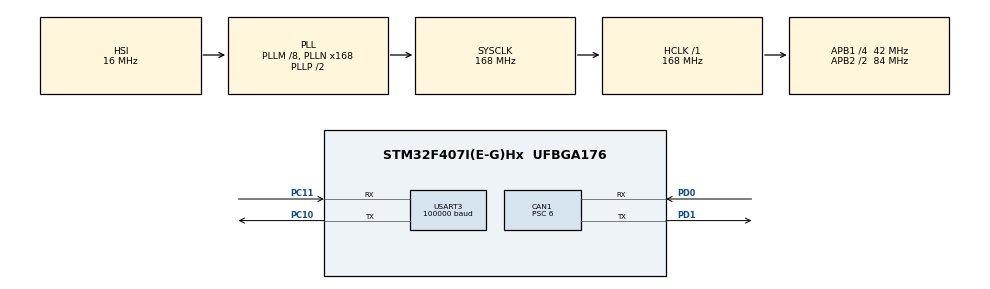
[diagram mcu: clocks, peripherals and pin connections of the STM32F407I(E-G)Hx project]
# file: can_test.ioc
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CAN1.BS1=CAN_BS1_3TQ
CAN1.BS2=CAN_BS2_3TQ
CAN1.CalculateBaudRate=1000000
CAN1.CalculateTimeBit=1000
CAN1.CalculateTimeQuantum=142.85714285714286
CAN1.Prescaler=6
Dma.Request0=USART3_RX
Dma.USART3_RX.0.Direction=DMA_PERIPH_TO_MEMORY
Dma.USART3_RX.0.FIFOMode=DMA_FIFOMODE_DISABLE
Dma.USART3_RX.0.Instance=DMA1_Stream1
Dma.USART3_RX.0.MemDataAlignment=DMA_MDATAALIGN_BYTE
Dma.USART3_RX.0.MemInc=DMA_MINC_ENABLE
Dma.USART3_RX.0.Mode=DMA_NORMAL
Dma.USART3_RX.0.PeriphDataAlignment=DMA_PDATAALIGN_BYTE
Dma.USART3_RX.0.PeriphInc=DMA_PINC_DISABLE
Dma.USART3_RX.0.Priority=DMA_PRIORITY_LOW
Mcu.Family=STM32F4
Mcu.Name=STM32F407I(E-G)Hx
Mcu.Package=UFBGA176
NVIC.CAN1_RX0_IRQn=true\:14\:0\:true\:false\:true\:true\:true\:true
NVIC.CAN1_RX1_IRQn=true\:14\:0\:true\:false\:true\:true\:true\:true
NVIC.DMA1_Stream1_IRQn=true\:0\:0\:false\:false\:true\:false\:true\:true
NVIC.PriorityGroup=NVIC_PRIORITYGROUP_4
NVIC.USART3_IRQn=true\:0\:0\:false\:false\:true\:true\:true\:true
PC10.Mode=Asynchronous
PC10.Signal=USART3_TX
PC11.Mode=Asynchronous
PC11.Signal=USART3_RX
PD0.Mode=CAN_Activate
PD0.Signal=CAN1_RX
PD1.Mode=CAN_Activate
PD1.Signal=CAN1_TX
PH0-OSC_IN.Mode=HSE-External-Oscillator
PH0-OSC_IN.Signal=RCC_OSC_IN
PH1-OSC_OUT.Mode=HSE-External-Oscillator
PH1-OSC_OUT.Signal=RCC_OSC_OUT
ProjectManager.HeapSize=0x200
ProjectManager.StackSize=0x400
ProjectManager.TargetToolchain=MDK-ARM V5.32
RCC.48MHZClocksFreq_Value=84000000
RCC.AHBFreq_Value=168000000
RCC.APB1CLKDivider=RCC_HCLK_DIV4
RCC.APB1Freq_Value=42000000
RCC.APB1TimFreq_Value=84000000
RCC.APB2CLKDivider=RCC_HCLK_DIV2
RCC.APB2Freq_Value=84000000
RCC.APB2TimFreq_Value=168000000
RCC.CortexFreq_Value=168000000
RCC.HCLKFreq_Value=168000000
RCC.HSE_VALUE=12000000
RCC.HSI_VALUE=16000000
RCC.LSE_VALUE=32768
RCC.PLLM=8
RCC.PLLN=168
RCC.SYSCLKFreq_VALUE=168000000
RCC.SYSCLKSource=RCC_SYSCLKSOURCE_PLLCLK
RCC.VCOOutputFreq_Value=336000000
USART3.BaudRate=100000
USART3.VirtualMode=VM_ASYNC
USART3.WordLength=WORDLENGTH_9B
board=custom

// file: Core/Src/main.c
/* USER CODE BEGIN Header */
/**
  ******************************************************************************
  * @file           : main.c
  * @brief          : Main program body
  ******************************************************************************
  * @attention
  *
  * Copyright (c) 2024 STMicroelectronics.
  * All rights reserved.
  *
  * This software is licensed under terms that can be found in the LICENSE file
  * in the root directory of this software component.
  * If no LICENSE file comes with this software, it is provided AS-IS.
  *
  ******************************************************************************
  */
/* USER CODE END Header */
#include "main.h"
#include "can.h"
#include "dma.h"
#include "usart.h"
#include "gpio.h"

/* USER CODE BEGIN Includes */
#include "motol_pid.h"
#include "drv_can.h"
#include "rc.h"
/* USER CODE END Includes */

/* USER CODE BEGIN PTD */

//float abs_max_speed = 4000.0f;  // 最大转速
//float p_out;                    // 最大输出值的占比（有正负）
//float actual_speed = 0.0f;     // 实际测量的转速（可以通过编码器、霍尔传感器等获取）
//float pid_output = 0.0f;       // PID 输出值，用于控制电机

pid_type_def chassis_A = {0};
pid_type_def chassis_B = {0};
pid_type_def chassis_C = {0};
pid_type_def chassis_D = {0};
float PID_chassis[3] = { 0.6f, 0.1f, 0.1f };
//pid_type_def motor_pid_speed;
//float PID_angle[3] = { 0.08f, 0.03f, 0.04f };
//float PID_speed[3] = { 0.08f, 0.03f, 0.04f };

typedef struct {
    int16_t rotor_angle;      // 转子机械角度
    int16_t RPM;      // 转子转速
    int16_t torque_current;   // 实际转矩电流
    uint8_t motor_temperature; // 电机温度
} CanData;                     // 接收电机信息

/* USER CODE END PTD */

void SystemClock_Config(void);
/* USER CODE BEGIN PFP */

// 传输can
void CAN_SendData_3508(int16_t motorl,int16_t motor2,int16_t motor3,int16_t motor4)
{
	CAN_TxHeaderTypeDef hcan1_tx;
	uint8_t DATA[8];
	uint32_t mailbox;

	hcan1_tx.DLC = 0x08;               //date_CAN1数据每一个的长度
	hcan1_tx.IDE = CAN_ID_STD;         //决定用标准(11位)还是扩展ID(29位)的标识符，即帧类型
//  hcan1_tx.ExtId =  ;                //给出具体的标识符
	hcan1_tx.StdId = 0x200;            //标识符，电调说明书上有
	hcan1_tx.RTR = CAN_RTR_DATA;       //CAN_RTR_DATA表示数据帧，实际传输数据；CAN_RTR_REMOTE远程帧，请求远程节点发送数据
//	hcan1_tx.TransmitGlobalTime =   ;  //用于指示是否在发送的消息中包含全局时间戳（常用于CAN FD中）。如果设置为1，则在数据帧的末尾添加一个时间戳，表示帧发送的时间。

	DATA[0] = motorl >> 8;
	DATA[1] = motorl & 0xFF;
	DATA[2] = motor2 >> 8;
	DATA[3] = motor2 & 0xFF;
	DATA[4] = motor3 >> 8;
	DATA[5] = motor3 & 0xFF;
	DATA[6] = motor4 >> 8;
	DATA[7] = motor4 & 0xFF;
	HAL_CAN_AddTxMessage(&hcan1,&hcan1_tx,DATA,&mailbox);	//此函数可以添加多个数去缓冲区，课设置优先级；而HAL_CAN_Transmit直接发送到CAN总线上
}

void CAN_SendData_6020(int16_t motorl,int16_t motor2,int16_t motor3,int16_t motor4)
{
	CAN_TxHeaderTypeDef hcan1_tx;
	uint8_t DATA[8];
	uint32_t mailbox;

	hcan1_tx.DLC = 0x08;               //date_CAN1数据每一个的长度
	hcan1_tx.IDE = CAN_ID_STD;         //决定用标准(11位)还是扩展ID(29位)的标识符，即帧类型
	hcan1_tx.StdId = 0X1FF;            //标识符，电调说明书上有
	hcan1_tx.RTR = CAN_RTR_DATA;       //CAN_RTR_DATA表示数据帧，实际传输数据；CAN_RTR_REMOTE远程帧，请求远程节点发送数据

	DATA[0] = motorl >> 8;
	DATA[1] = motorl & 0xFF;
	DATA[2] = motor2 >> 8;
	DATA[3] = motor2 & 0xFF;
	DATA[4] = motor3 >> 8;
	DATA[5] = motor3 & 0xFF;
	DATA[6] = motor4 >> 8;
	DATA[7] = motor4 & 0xFF;

	HAL_CAN_AddTxMessage(&hcan1,&hcan1_tx,DATA,&mailbox);   //此函数可以添加多个数去缓冲区，课设置优先级；而HAL_CAN_Transmit直接发送到CAN总线上
}

CanData decoded_data;   //电调解码后的电机信息
CanData motor1;
CanData motor2;
CanData motor3;
CanData motor4;

//解码电调传回电机的函数
CanData decode_can_data(uint8_t data[8]) {
    // 解码转子机械角度
    decoded_data.rotor_angle = ((uint16_t)data[0] << 8) | data[1];

    // 解码转子转速
    decoded_data.RPM = ((int16_t)data[2] << 8) | data[3];

    // 解码实际转矩电流
    decoded_data.torque_current = ((int16_t)data[4] << 8) | data[5];

    // 解码电机温度
    decoded_data.motor_temperature = data[6];

    // 返回解码后的结构体
    return decoded_data;
}

uint8_t can_rx_data[32];  // 用于存储接收到的数据
void HAL_CAN_RxFifo0MsgPendingCallback(CAN_HandleTypeDef *hcan)
{  CAN_RxHeaderTypeDef rxHeader;  // 用于存储接收头信息

  // 确认 CAN1 接收数据
  if (hcan->Instance == CAN1)
  {
    // 获取接收到的数据
    if (HAL_CAN_GetRxMessage(hcan, CAN_RX_FIFO0, &rxHeader, can_rx_data) == HAL_OK)
    {
      switch (rxHeader.StdId)
			{
				case 0x201:
					motor1 = decode_can_data(can_rx_data);
				  break;

				case 0x202:
					motor2 = decode_can_data(can_rx_data);
				  break;

				case 0x203:
					motor3 = decode_can_data(can_rx_data);
				  break;

				case 0x204:
					motor4 = decode_can_data(can_rx_data);
				  break;

				default:
					break;
			}
    }
  }
}

/* 角度Pid时，在更新tar和cur之后紧接着调用, 处理完再进行PID计算*/
void Handle_Angle8191_PID_Over_Zero(int32_t *tar, int16_t *cur)
{
	if(*tar - *cur > 4096)    //4096 ：半圈机械角度
	{
		*cur += 8192;        //8191,8192无所谓了，四舍五入
	}
	else if(*tar - *cur < -4096)
	{
		*cur = *cur - 8192;
	}
}

/* USER CODE END PFP */

int main(void)
{

  /* MCU Configuration--------------------------------------------------------*/

  /* Reset of all peripherals, Initializes the Flash interface and the Systick. */
  HAL_Init();

  /* Configure the system clock */
  SystemClock_Config();

  /* Initialize all configured peripherals */
  MX_GPIO_Init();
  MX_DMA_Init();
  MX_CAN1_Init();
  MX_USART3_UART_Init();
  /* USER CODE BEGIN 2 */
	rc_Init();
  CAN_Init(&hcan1);
	HAL_CAN_ActivateNotification(&hcan1,CAN_IT_RX_FIFO0_MSG_PENDING);      //使能中断
  PID_init(&chassis_A, PID_DELTA, PID_chassis, 15000, 1000);             //16384
  PID_init(&chassis_B, PID_DELTA, PID_chassis, 15000, 1000);
	PID_init(&chassis_C, PID_DELTA, PID_chassis, 15000, 1000);
	PID_init(&chassis_D, PID_DELTA, PID_chassis, 15000, 1000);

//	// 初始化 PID 控制器参数
//  // 目标：pid最大输出，最大积分输出
//  PID_init(&motor_pid_angle, PID_DELTA, PID_angle, 3000, 200);

  /* USER CODE END 2 */

  /* Infinite loop */
  /* USER CODE BEGIN WHILE */
  while (1)
  {
		// 麦轮底盘解算
//    chassis_A.fdb = motor3.RPM;
//    chassis_B.fdb = motor1.RPM;
//		chassis_C.fdb = motor2.RPM;
//		chassis_D.fdb = motor4.RPM;
//		chassis_A.set = MotorTarget.A_RPM;
//		chassis_B.set = MotorTarget.B_RPM;
//		chassis_C.set = MotorTarget.C_RPM;
//		chassis_D.set = MotorTarget.D_RPM;
//    PID_calc(&chassis_A,chassis_A.fdb,chassis_A.set);
//    PID_calc(&chassis_B,chassis_B.fdb,chassis_B.set);
//    PID_calc(&chassis_C,chassis_C.fdb,chassis_C.set);
//    PID_calc(&chassis_D,chassis_D.fdb,chassis_D.set);
//  	CAN_SendData_3508(chassis_B.out, chassis_C.out, chassis_A.out, chassis_D.out);

//		//6020电机双环控制
//		Handle_Angle8191_PID_Over_Zero( &motor_pid_angle.set, &decoded_data.rotor_angle);
//
//    motor_pid_angle.fdb = decoded_data.rotor_angle;
//    PID_calc( &motor_pid_angle, motor_pid_angle.fdb, motor_pid_angle.set);
//
//		motor_pid_speed.set = motor_pid_angle.out;
//		motor_pid_speed.fdb = decoded_data.rotor_speed;
//		PID_calc( &motor_pid_speed, motor_pid_speed.fdb, motor_pid_speed.set);
//
//		CAN_SendData_6020( motor_pid_speed.out );

//		HAL_Delay(2);

    /* USER CODE END WHILE */

  }
}

void SystemClock_Config(void)
{
  RCC_OscInitTypeDef RCC_OscInitStruct = {0};
  RCC_ClkInitTypeDef RCC_ClkInitStruct = {0};

  /** Configure the main internal regulator output voltage
  */
  __HAL_RCC_PWR_CLK_ENABLE();
  __HAL_PWR_VOLTAGESCALING_CONFIG(PWR_REGULATOR_VOLTAGE_SCALE1);

  /** Initializes the RCC Oscillators according to the specified parameters
  * in the RCC_OscInitTypeDef structure.
  */
  RCC_OscInitStruct.OscillatorType = RCC_OSCILLATORTYPE_HSI;
  RCC_OscInitStruct.HSIState = RCC_HSI_ON;
  RCC_OscInitStruct.HSICalibrationValue = RCC_HSICALIBRATION_DEFAULT;
  RCC_OscInitStruct.PLL.PLLState = RCC_PLL_ON;
  RCC_OscInitStruct.PLL.PLLSource = RCC_PLLSOURCE_HSI;
  RCC_OscInitStruct.PLL.PLLM = 8;
  RCC_OscInitStruct.PLL.PLLN = 168;
  RCC_OscInitStruct.PLL.PLLP = RCC_PLLP_DIV2;
  RCC_OscInitStruct.PLL.PLLQ = 4;
  if (HAL_RCC_OscConfig(&RCC_OscInitStruct) != HAL_OK)
  {
    Error_Handler();
  }

  /** Initializes the CPU, AHB and APB buses clocks
  */
  RCC_ClkInitStruct.ClockType = RCC_CLOCKTYPE_HCLK|RCC_CLOCKTYPE_SYSCLK
                              |RCC_CLOCKTYPE_PCLK1|RCC_CLOCKTYPE_PCLK2;
  RCC_ClkInitStruct.SYSCLKSource = RCC_SYSCLKSOURCE_PLLCLK;
  RCC_ClkInitStruct.AHBCLKDivider = RCC_SYSCLK_DIV1;
  RCC_ClkInitStruct.APB1CLKDivider = RCC_HCLK_DIV4;
  RCC_ClkInitStruct.APB2CLKDivider = RCC_HCLK_DIV2;

  if (HAL_RCC_ClockConfig(&RCC_ClkInitStruct, FLASH_LATENCY_5) != HAL_OK)
  {
    Error_Handler();
  }
}

void Error_Handler(void)
{
  __disable_irq();
  while (1)
  {
  }
}
